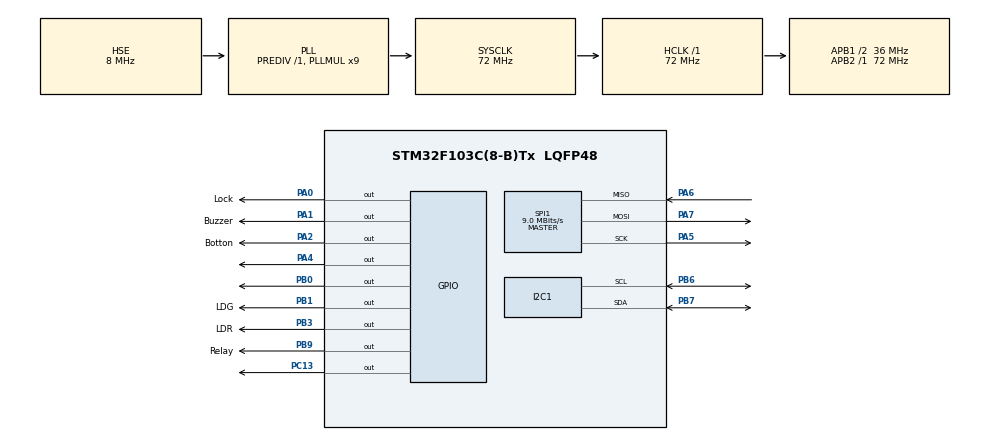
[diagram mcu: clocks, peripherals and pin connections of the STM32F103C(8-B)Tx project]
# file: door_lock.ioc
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I2C1.I2C_Mode=I2C_Fast
Mcu.Family=STM32F1
Mcu.Name=STM32F103C(8-B)Tx
Mcu.Package=LQFP48
NVIC.PriorityGroup=NVIC_PRIORITYGROUP_4
PA0-WKUP.GPIO_Label=Lock
PA0-WKUP.Signal=GPIO_Output
PA1.GPIO_Label=Buzzer
PA1.Signal=GPIO_Output
PA13.Mode=Serial_Wire
PA13.Signal=SYS_JTMS-SWDIO
PA14.Mode=Serial_Wire
PA14.Signal=SYS_JTCK-SWCLK
PA2.GPIO_Label=Botton
PA2.Signal=GPIO_Output
PA4.Signal=GPIO_Output
PA5.Mode=Full_Duplex_Master
PA5.Signal=SPI1_SCK
PA6.Mode=Full_Duplex_Master
PA6.Signal=SPI1_MISO
PA7.Mode=Full_Duplex_Master
PA7.Signal=SPI1_MOSI
PB0.Signal=GPIO_Output
PB1.GPIO_Label=LDG
PB1.Signal=GPIO_Output
PB3.GPIO_Label=LDR
PB3.Signal=GPIO_Output
PB6.Mode=I2C
PB6.Signal=I2C1_SCL
PB7.Mode=I2C
PB7.Signal=I2C1_SDA
PB9.GPIO_Label=Relay
PB9.Signal=GPIO_Output
PC13-TAMPER-RTC.Signal=GPIO_Output
PD0-OSC_IN.Mode=HSE-External-Oscillator
PD0-OSC_IN.Signal=RCC_OSC_IN
PD1-OSC_OUT.Mode=HSE-External-Oscillator
PD1-OSC_OUT.Signal=RCC_OSC_OUT
ProjectManager.HeapSize=0x200
ProjectManager.StackSize=0x400
ProjectManager.TargetToolchain=STM32CubeIDE
RCC.AHBFreq_Value=72000000
RCC.APB1CLKDivider=RCC_HCLK_DIV2
RCC.APB1Freq_Value=36000000
RCC.APB1TimFreq_Value=72000000
RCC.APB2Freq_Value=72000000
RCC.APB2TimFreq_Value=72000000
RCC.HCLKFreq_Value=72000000
RCC.PLLMUL=RCC_PLL_MUL9
RCC.PLLSourceVirtual=RCC_PLLSOURCE_HSE
RCC.SYSCLKFreq_VALUE=72000000
RCC.SYSCLKSource=RCC_SYSCLKSOURCE_PLLCLK
RCC.USBFreq_Value=72000000
SPI1.BaudRatePrescaler=SPI_BAUDRATEPRESCALER_8
SPI1.CalculateBaudRate=9.0 MBits/s
SPI1.Direction=SPI_DIRECTION_2LINES
SPI1.Mode=SPI_MODE_MASTER
SPI1.VirtualType=VM_MASTER
board=custom

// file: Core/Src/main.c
/* USER CODE BEGIN Header */
/**
  ******************************************************************************
  * @file           : main.c
  * @brief          : Main program body
  ******************************************************************************
  * @attention
  *
  * Copyright (c) 2025 STMicroelectronics.
  * All rights reserved.
  *
  * This software is licensed under terms that can be found in the LICENSE file
  * in the root directory of this software component.
  * If no LICENSE file comes with this software, it is provided AS-IS.
  *
  ******************************************************************************
  */
/* USER CODE END Header */
#include "main.h"
#include "i2c.h"
#include "spi.h"
#include "gpio.h"

/* USER CODE BEGIN Includes */
#include "RC522.h"
#include "string.h"
#include "i2c_lcd.h"
/* USER CODE END Includes */

/* USER CODE BEGIN PV */
uint8_t status;
uint8_t str[MAX_LEN]; // Max_LEN = 16
uint8_t sNum[5];

/* USER CODE END PV */

void SystemClock_Config(void);

int main(void)
{

  /* MCU Configuration--------------------------------------------------------*/

  /* Reset of all peripherals, Initializes the Flash interface and the Systick. */
  HAL_Init();

  /* Configure the system clock */
  SystemClock_Config();

  /* Initialize all configured peripherals */
  MX_GPIO_Init();
  MX_I2C1_Init();
  MX_SPI1_Init();
  /* USER CODE BEGIN 2 */
  MFRC522_Init();
  lcd_init();
  /* USER CODE END 2 */

  /* Infinite loop */
  /* USER CODE BEGIN WHILE */
  while (1)
  {

	  lcd_put_cursor(0,0);
	  lcd_send_string("Scan your Card");
	  lcd_put_cursor(1,0);
	  lcd_send_string("The Door is Lock");
	  HAL_Delay(50);
	  status = MFRC522_Request(PICC_REQIDL, str);
	  status = MFRC522_Anticoll(str);

	  if(status == MI_OK) {
	      if((str[0]==21) && (str[1]==53) && (str[2]==192) && (str[3]==1) && (str[4]==225)) {

	          lcd_clear();
	          lcd_put_cursor(0,0);
	          lcd_send_string("Welcome Back!");
	          lcd_put_cursor(1,0);
	          lcd_send_string("Door is Unlock");
	          HAL_GPIO_WritePin(Relay_GPIO_Port, Relay_Pin, 1); //On
	          HAL_Delay(10000);

	          HAL_GPIO_WritePin(Relay_GPIO_Port, Relay_Pin, 0); //Off

	      }
	      else {

	          lcd_clear();
	          lcd_put_cursor(0,0);
	          lcd_send_string("Wrong Card");
	          lcd_put_cursor(1,0);
	          lcd_send_string("Door is Lock");

	          HAL_GPIO_WritePin(Buzzer_GPIO_Port, Buzzer_Pin, GPIO_PIN_SET); // Turn ON Buzzer
	          HAL_Delay(2000);
	          HAL_GPIO_WritePin(Buzzer_GPIO_Port, Buzzer_Pin, GPIO_PIN_RESET); // Turn OFF Buzzer
	      }

	      lcd_clear();
	  }

    /* USER CODE END WHILE */

  }
}

void SystemClock_Config(void)
{
  RCC_OscInitTypeDef RCC_OscInitStruct = {0};
  RCC_ClkInitTypeDef RCC_ClkInitStruct = {0};

  /** Initializes the RCC Oscillators according to the specified parameters
  * in the RCC_OscInitTypeDef structure.
  */
  RCC_OscInitStruct.OscillatorType = RCC_OSCILLATORTYPE_HSE;
  RCC_OscInitStruct.HSEState = RCC_HSE_ON;
  RCC_OscInitStruct.HSEPredivValue = RCC_HSE_PREDIV_DIV1;
  RCC_OscInitStruct.HSIState = RCC_HSI_ON;
  RCC_OscInitStruct.PLL.PLLState = RCC_PLL_ON;
  RCC_OscInitStruct.PLL.PLLSource = RCC_PLLSOURCE_HSE;
  RCC_OscInitStruct.PLL.PLLMUL = RCC_PLL_MUL9;
  if (HAL_RCC_OscConfig(&RCC_OscInitStruct) != HAL_OK)
  {
    Error_Handler();
  }

  /** Initializes the CPU, AHB and APB buses clocks
  */
  RCC_ClkInitStruct.ClockType = RCC_CLOCKTYPE_HCLK|RCC_CLOCKTYPE_SYSCLK
                              |RCC_CLOCKTYPE_PCLK1|RCC_CLOCKTYPE_PCLK2;
  RCC_ClkInitStruct.SYSCLKSource = RCC_SYSCLKSOURCE_PLLCLK;
  RCC_ClkInitStruct.AHBCLKDivider = RCC_SYSCLK_DIV1;
  RCC_ClkInitStruct.APB1CLKDivider = RCC_HCLK_DIV2;
  RCC_ClkInitStruct.APB2CLKDivider = RCC_HCLK_DIV1;

  if (HAL_RCC_ClockConfig(&RCC_ClkInitStruct, FLASH_LATENCY_2) != HAL_OK)
  {
    Error_Handler();
  }
}

void Error_Handler(void)
{
  __disable_irq();
  while (1)
  {
  }
}
